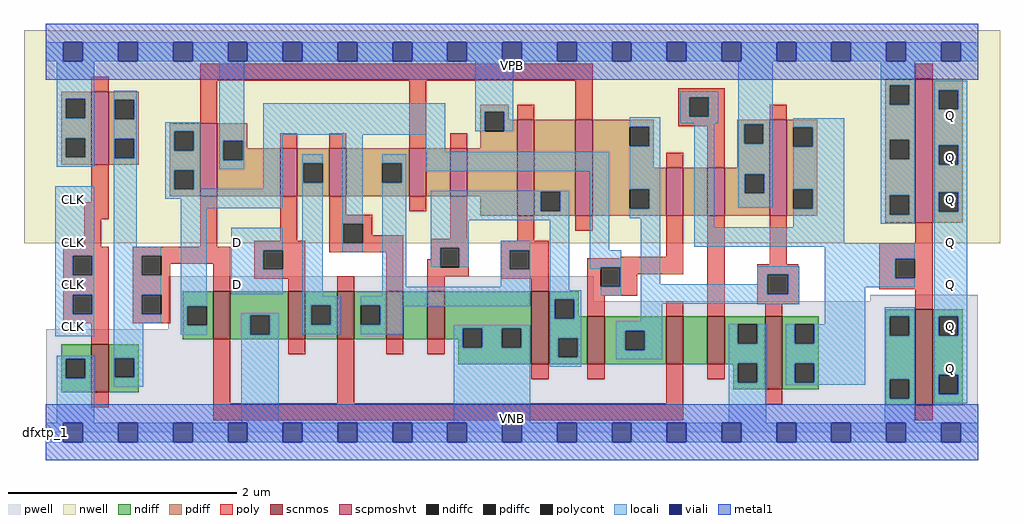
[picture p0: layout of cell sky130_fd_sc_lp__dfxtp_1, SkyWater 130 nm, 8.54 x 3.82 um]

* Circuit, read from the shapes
.subckt sky130_fd_sc_lp__dfxtp_1 CLK D VGND VNB VPB VPWR Q
XM1 n1 CLK VGND VNB sky130_fd_pr__nfet_01v8 w=0.42 l=0.15
XM2 VGND n1 n2 VNB sky130_fd_pr__nfet_01v8 w=0.42 l=0.15
XM3 n3 D VGND VNB sky130_fd_pr__nfet_01v8 w=0.42 l=0.15
XM4 n4 n1 n3 VNB sky130_fd_pr__nfet_01v8 w=0.42 l=0.15
XM5 n5 n2 n4 VNB sky130_fd_pr__nfet_01v8 w=0.42 l=0.15
XM6 VGND n6 n5 VNB sky130_fd_pr__nfet_01v8 w=0.42 l=0.15
XM7 n6 n4 VGND VNB sky130_fd_pr__nfet_01v8 w=0.64 l=0.15
XM8 n7 n2 n6 VNB sky130_fd_pr__nfet_01v8 w=0.42 l=0.15
XM9 n8 n1 n7 VNB sky130_fd_pr__nfet_01v8 w=0.42 l=0.15
XM10 VGND n9 n8 VNB sky130_fd_pr__nfet_01v8 w=0.42 l=0.15
XM11 n9 n7 VGND VNB sky130_fd_pr__nfet_01v8 w=0.64 l=0.15
XM12 Q n9 VGND VNB sky130_fd_pr__nfet_01v8 w=0.84 l=0.15
XM13 n1 CLK VPWR VPB sky130_fd_pr__pfet_01v8_hvt w=0.64 l=0.15
XM14 VPWR n1 n2 VPB sky130_fd_pr__pfet_01v8_hvt w=0.64 l=0.15
XM15 n3 D VPWR VPB sky130_fd_pr__pfet_01v8_hvt w=0.42 l=0.15
XM16 n4 n2 n3 VPB sky130_fd_pr__pfet_01v8_hvt w=0.42 l=0.15
XM17 n10 n1 n4 VPB sky130_fd_pr__pfet_01v8_hvt w=0.42 l=0.15
XM18 VPWR n6 n10 VPB sky130_fd_pr__pfet_01v8_hvt w=0.42 l=0.15
XM19 n6 n4 VPWR VPB sky130_fd_pr__pfet_01v8_hvt w=0.84 l=0.15
XM20 n7 n1 n6 VPB sky130_fd_pr__pfet_01v8_hvt w=0.84 l=0.15
XM21 n11 n2 n7 VPB sky130_fd_pr__pfet_01v8_hvt w=0.42 l=0.15
XM22 VPWR n9 n11 VPB sky130_fd_pr__pfet_01v8_hvt w=0.42 l=0.15
XM23 n9 n7 VPWR VPB sky130_fd_pr__pfet_01v8_hvt w=0.84 l=0.15
XM24 Q n9 VPWR VPB sky130_fd_pr__pfet_01v8_hvt w=1.26 l=0.15
.ends

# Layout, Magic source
magic
tech sky130A
magscale 1 2
<< nwell >>
rect -38 331 1670 704
<< pwell >>
rect 214 229 959 273
rect 1443 229 1631 241
rect 214 180 1631 229
rect 1 49 1631 180
rect 0 0 1632 49
<< scnmos >>
rect 293 163 323 247
rect 424 163 454 247
rect 510 163 540 247
rect 596 163 626 247
rect 668 163 698 247
rect 80 70 110 154
rect 850 119 880 247
rect 948 119 978 203
rect 1086 119 1116 203
rect 1158 119 1188 203
rect 1259 75 1289 203
rect 1522 47 1552 215
<< scpmoshvt >>
rect 80 468 110 596
rect 270 413 300 541
rect 410 413 440 497
rect 496 413 526 497
rect 636 413 666 497
rect 708 413 738 497
rect 825 379 855 547
rect 927 379 957 547
rect 1086 379 1116 463
rect 1158 379 1188 463
rect 1267 379 1297 547
rect 1522 367 1552 619
<< ndiff >>
rect 240 221 293 247
rect 240 187 248 221
rect 282 187 293 221
rect 240 163 293 187
rect 323 205 424 247
rect 323 171 358 205
rect 392 171 424 205
rect 323 163 424 171
rect 454 222 510 247
rect 454 188 465 222
rect 499 188 510 222
rect 454 163 510 188
rect 540 222 596 247
rect 540 188 551 222
rect 585 188 596 222
rect 540 163 596 188
rect 626 163 668 247
rect 698 182 850 247
rect 698 163 730 182
rect 27 129 80 154
rect 27 95 35 129
rect 69 95 80 129
rect 27 70 80 95
rect 110 130 163 154
rect 110 96 121 130
rect 155 96 163 130
rect 110 70 163 96
rect 722 148 730 163
rect 764 148 798 182
rect 832 148 850 182
rect 722 119 850 148
rect 880 233 933 247
rect 880 199 891 233
rect 925 203 933 233
rect 1469 203 1522 215
rect 925 199 948 203
rect 880 165 948 199
rect 880 131 897 165
rect 931 131 948 165
rect 880 119 948 131
rect 978 178 1086 203
rect 978 144 1014 178
rect 1048 144 1086 178
rect 978 119 1086 144
rect 1116 119 1158 203
rect 1188 189 1259 203
rect 1188 155 1211 189
rect 1245 155 1259 189
rect 1188 121 1259 155
rect 1188 119 1211 121
rect 1203 87 1211 119
rect 1245 87 1259 121
rect 1203 75 1259 87
rect 1289 189 1353 203
rect 1289 155 1311 189
rect 1345 155 1353 189
rect 1289 121 1353 155
rect 1289 87 1311 121
rect 1345 87 1353 121
rect 1289 75 1353 87
rect 1469 169 1477 203
rect 1511 169 1522 203
rect 1469 93 1522 169
rect 1469 59 1477 93
rect 1511 59 1522 93
rect 1469 47 1522 59
rect 1552 203 1605 215
rect 1552 169 1563 203
rect 1597 169 1605 203
rect 1552 101 1605 169
rect 1552 67 1563 101
rect 1597 67 1605 101
rect 1552 47 1605 67
<< pdiff >>
rect 27 584 80 596
rect 27 550 35 584
rect 69 550 80 584
rect 27 515 80 550
rect 27 481 35 515
rect 69 481 80 515
rect 27 468 80 481
rect 110 582 163 596
rect 110 548 121 582
rect 155 548 163 582
rect 110 514 163 548
rect 110 480 121 514
rect 155 480 163 514
rect 110 468 163 480
rect 217 527 270 541
rect 217 493 225 527
rect 259 493 270 527
rect 217 459 270 493
rect 217 425 225 459
rect 259 425 270 459
rect 217 413 270 425
rect 300 510 353 541
rect 300 476 311 510
rect 345 497 353 510
rect 760 561 810 573
rect 760 527 768 561
rect 802 547 810 561
rect 1469 607 1522 619
rect 1469 573 1477 607
rect 1511 573 1522 607
rect 802 527 825 547
rect 760 497 825 527
rect 345 476 410 497
rect 300 413 410 476
rect 440 471 496 497
rect 440 437 451 471
rect 485 437 496 471
rect 440 413 496 437
rect 526 471 636 497
rect 526 437 589 471
rect 623 437 636 471
rect 526 413 636 437
rect 666 413 708 497
rect 738 413 825 497
rect 760 379 825 413
rect 855 421 927 547
rect 855 387 866 421
rect 900 387 927 421
rect 855 379 927 387
rect 957 535 1064 547
rect 957 501 1022 535
rect 1056 501 1064 535
rect 957 463 1064 501
rect 1210 539 1267 547
rect 1210 505 1222 539
rect 1256 505 1267 539
rect 1210 463 1267 505
rect 957 425 1086 463
rect 957 391 1022 425
rect 1056 391 1086 425
rect 957 379 1086 391
rect 1116 379 1158 463
rect 1188 452 1267 463
rect 1188 418 1223 452
rect 1257 418 1267 452
rect 1188 379 1267 418
rect 1297 534 1350 547
rect 1297 500 1308 534
rect 1342 500 1350 534
rect 1297 425 1350 500
rect 1297 391 1308 425
rect 1342 391 1350 425
rect 1297 379 1350 391
rect 1469 512 1522 573
rect 1469 478 1477 512
rect 1511 478 1522 512
rect 1469 415 1522 478
rect 1469 381 1477 415
rect 1511 381 1522 415
rect 1469 367 1522 381
rect 1552 599 1605 619
rect 1552 565 1563 599
rect 1597 565 1605 599
rect 1552 502 1605 565
rect 1552 468 1563 502
rect 1597 468 1605 502
rect 1552 420 1605 468
rect 1552 386 1563 420
rect 1597 386 1605 420
rect 1552 367 1605 386
<< ndiffc >>
rect 248 187 282 221
rect 358 171 392 205
rect 465 188 499 222
rect 551 188 585 222
rect 35 95 69 129
rect 121 96 155 130
rect 730 148 764 182
rect 798 148 832 182
rect 891 199 925 233
rect 897 131 931 165
rect 1014 144 1048 178
rect 1211 155 1245 189
rect 1211 87 1245 121
rect 1311 155 1345 189
rect 1311 87 1345 121
rect 1477 169 1511 203
rect 1477 59 1511 93
rect 1563 169 1597 203
rect 1563 67 1597 101
<< pdiffc >>
rect 35 550 69 584
rect 35 481 69 515
rect 121 548 155 582
rect 121 480 155 514
rect 225 493 259 527
rect 225 425 259 459
rect 311 476 345 510
rect 768 527 802 561
rect 1477 573 1511 607
rect 451 437 485 471
rect 589 437 623 471
rect 866 387 900 421
rect 1022 501 1056 535
rect 1222 505 1256 539
rect 1022 391 1056 425
rect 1223 418 1257 452
rect 1308 500 1342 534
rect 1308 391 1342 425
rect 1477 478 1511 512
rect 1477 381 1511 415
rect 1563 565 1597 599
rect 1563 468 1597 502
rect 1563 386 1597 420
<< poly >>
rect 80 596 110 622
rect 270 615 957 645
rect 1522 619 1552 645
rect 270 541 300 615
rect 80 403 110 468
rect 410 497 440 523
rect 496 497 526 523
rect 636 497 666 615
rect 825 547 855 573
rect 927 547 957 615
rect 1107 586 1188 602
rect 1107 552 1126 586
rect 1160 552 1188 586
rect 708 497 738 523
rect 67 373 110 403
rect 67 325 97 373
rect 270 325 300 413
rect 410 335 440 413
rect 496 381 526 413
rect 636 387 666 413
rect 496 365 571 381
rect 31 309 110 325
rect 31 275 47 309
rect 81 275 110 309
rect 31 241 110 275
rect 31 207 47 241
rect 81 207 110 241
rect 31 191 110 207
rect 152 309 323 325
rect 152 275 168 309
rect 202 295 323 309
rect 202 275 218 295
rect 152 241 218 275
rect 293 247 323 295
rect 365 319 454 335
rect 365 285 381 319
rect 415 285 454 319
rect 496 331 521 365
rect 555 345 571 365
rect 555 331 626 345
rect 708 339 738 413
rect 1107 536 1188 552
rect 1267 547 1297 573
rect 1086 463 1116 489
rect 1158 463 1188 536
rect 496 315 626 331
rect 365 269 454 285
rect 424 247 454 269
rect 510 247 540 273
rect 596 247 626 315
rect 674 323 740 339
rect 825 335 855 379
rect 927 353 957 379
rect 674 303 690 323
rect 668 289 690 303
rect 724 289 740 323
rect 668 273 740 289
rect 796 319 880 335
rect 796 285 812 319
rect 846 285 880 319
rect 1086 307 1116 379
rect 1005 305 1116 307
rect 668 247 698 273
rect 796 269 880 285
rect 850 247 880 269
rect 948 289 1116 305
rect 948 255 971 289
rect 1005 277 1116 289
rect 1005 255 1035 277
rect 152 207 168 241
rect 202 207 218 241
rect 152 191 218 207
rect 80 154 110 191
rect 80 44 110 70
rect 293 51 323 163
rect 424 137 454 163
rect 510 51 540 163
rect 596 137 626 163
rect 668 137 698 163
rect 948 239 1035 255
rect 948 203 978 239
rect 1086 203 1116 229
rect 1158 203 1188 379
rect 1267 294 1297 379
rect 1522 331 1552 367
rect 1459 304 1552 331
rect 1245 291 1317 294
rect 1245 277 1319 291
rect 1245 242 1263 277
rect 1299 242 1319 277
rect 1459 270 1487 304
rect 1521 270 1552 304
rect 1459 250 1552 270
rect 1245 224 1319 242
rect 1259 203 1289 224
rect 1522 215 1552 250
rect 850 93 880 119
rect 948 93 978 119
rect 1086 51 1116 119
rect 1158 93 1188 119
rect 293 21 1116 51
rect 1259 49 1289 75
rect 1522 21 1552 47
<< polycont >>
rect 1126 552 1160 586
rect 47 275 81 309
rect 47 207 81 241
rect 168 275 202 309
rect 381 285 415 319
rect 521 331 555 365
rect 690 289 724 323
rect 812 285 846 319
rect 971 255 1005 289
rect 168 207 202 241
rect 1263 242 1299 277
rect 1487 270 1521 304
<< locali >>
rect 0 649 31 683
rect 65 649 127 683
rect 161 649 223 683
rect 257 649 319 683
rect 353 649 415 683
rect 449 649 511 683
rect 545 649 607 683
rect 641 649 703 683
rect 737 649 799 683
rect 833 649 895 683
rect 929 649 991 683
rect 1025 649 1087 683
rect 1121 649 1183 683
rect 1217 649 1279 683
rect 1313 649 1375 683
rect 1409 649 1471 683
rect 1505 649 1567 683
rect 1601 649 1632 683
rect 19 584 85 649
rect 19 550 35 584
rect 69 550 85 584
rect 19 515 85 550
rect 19 481 35 515
rect 69 481 85 515
rect 19 465 85 481
rect 119 582 159 598
rect 119 548 121 582
rect 155 548 159 582
rect 119 514 159 548
rect 119 480 121 514
rect 155 480 159 514
rect 17 309 85 431
rect 17 275 47 309
rect 81 275 85 309
rect 17 241 85 275
rect 17 207 47 241
rect 81 207 85 241
rect 17 168 85 207
rect 119 325 159 480
rect 209 527 270 543
rect 209 493 225 527
rect 259 493 270 527
rect 209 459 270 493
rect 304 510 347 649
rect 304 476 311 510
rect 345 476 347 510
rect 304 460 347 476
rect 381 521 699 576
rect 752 561 818 649
rect 752 527 768 561
rect 802 527 818 561
rect 1110 586 1177 597
rect 1110 552 1126 586
rect 1160 552 1177 586
rect 1022 535 1075 551
rect 1110 541 1177 552
rect 209 425 225 459
rect 259 426 270 459
rect 381 426 415 521
rect 259 425 415 426
rect 209 409 415 425
rect 236 392 415 409
rect 449 471 485 487
rect 449 437 451 471
rect 119 309 202 325
rect 119 275 168 309
rect 119 241 202 275
rect 119 207 168 241
rect 119 191 202 207
rect 236 221 282 392
rect 325 319 415 358
rect 325 285 381 319
rect 325 242 415 285
rect 19 129 85 134
rect 19 95 35 129
rect 69 95 85 129
rect 19 17 85 95
rect 119 130 171 191
rect 236 187 248 221
rect 449 238 485 437
rect 519 365 555 521
rect 665 491 699 521
rect 1056 501 1075 535
rect 519 331 521 365
rect 519 315 555 331
rect 589 471 631 487
rect 623 437 631 471
rect 665 457 986 491
rect 589 255 631 437
rect 674 421 916 423
rect 674 387 866 421
rect 900 387 916 421
rect 674 371 916 387
rect 674 323 740 371
rect 674 289 690 323
rect 724 289 740 323
rect 796 319 848 335
rect 796 285 812 319
rect 846 285 848 319
rect 796 255 848 285
rect 589 238 848 255
rect 449 222 515 238
rect 236 171 282 187
rect 342 205 408 208
rect 342 171 358 205
rect 392 171 408 205
rect 449 188 465 222
rect 499 188 515 222
rect 449 172 515 188
rect 551 222 848 238
rect 585 221 848 222
rect 882 249 916 371
rect 952 319 986 457
rect 1022 425 1075 501
rect 1056 391 1075 425
rect 1022 375 1075 391
rect 952 289 1007 319
rect 952 285 971 289
rect 1005 255 1007 289
rect 882 233 937 249
rect 971 239 1007 255
rect 1041 259 1075 375
rect 1135 359 1170 541
rect 1212 539 1272 649
rect 1461 607 1521 649
rect 1461 573 1477 607
rect 1511 573 1521 607
rect 1212 505 1222 539
rect 1256 505 1272 539
rect 1212 452 1272 505
rect 1212 418 1223 452
rect 1257 418 1272 452
rect 1212 393 1272 418
rect 1308 534 1397 550
rect 1342 500 1397 534
rect 1308 425 1397 500
rect 1342 391 1397 425
rect 1308 359 1397 391
rect 1461 512 1521 573
rect 1461 478 1477 512
rect 1511 478 1521 512
rect 1461 415 1521 478
rect 1461 381 1477 415
rect 1511 381 1521 415
rect 1461 365 1521 381
rect 1555 599 1613 615
rect 1555 565 1563 599
rect 1597 565 1613 599
rect 1555 502 1613 565
rect 1555 468 1563 502
rect 1597 468 1613 502
rect 1555 420 1613 468
rect 1555 386 1563 420
rect 1597 386 1613 420
rect 1135 331 1397 359
rect 1135 325 1521 331
rect 1363 304 1521 325
rect 1245 277 1319 291
rect 1245 259 1263 277
rect 1041 242 1263 259
rect 1299 242 1319 277
rect 585 188 625 221
rect 551 172 625 188
rect 882 199 891 233
rect 925 199 937 233
rect 714 182 848 187
rect 119 96 121 130
rect 155 96 171 130
rect 119 80 171 96
rect 342 17 408 171
rect 714 148 730 182
rect 764 148 798 182
rect 832 148 848 182
rect 714 17 848 148
rect 882 165 937 199
rect 1041 225 1319 242
rect 1041 194 1079 225
rect 1245 224 1319 225
rect 1363 270 1487 304
rect 1363 254 1521 270
rect 882 131 897 165
rect 931 131 937 165
rect 882 115 937 131
rect 998 178 1079 194
rect 1363 189 1434 254
rect 998 144 1014 178
rect 1048 144 1079 178
rect 998 128 1079 144
rect 1195 155 1211 189
rect 1245 155 1261 189
rect 1195 121 1261 155
rect 1195 87 1211 121
rect 1245 87 1261 121
rect 1195 17 1261 87
rect 1295 155 1311 189
rect 1345 155 1434 189
rect 1295 121 1434 155
rect 1295 87 1311 121
rect 1345 87 1434 121
rect 1295 83 1434 87
rect 1468 203 1521 219
rect 1468 169 1477 203
rect 1511 169 1521 203
rect 1468 93 1521 169
rect 1468 59 1477 93
rect 1511 59 1521 93
rect 1468 17 1521 59
rect 1555 203 1613 386
rect 1555 169 1563 203
rect 1597 169 1613 203
rect 1555 101 1613 169
rect 1555 67 1563 101
rect 1597 67 1613 101
rect 1555 51 1613 67
rect 0 -17 31 17
rect 65 -17 127 17
rect 161 -17 223 17
rect 257 -17 319 17
rect 353 -17 415 17
rect 449 -17 511 17
rect 545 -17 607 17
rect 641 -17 703 17
rect 737 -17 799 17
rect 833 -17 895 17
rect 929 -17 991 17
rect 1025 -17 1087 17
rect 1121 -17 1183 17
rect 1217 -17 1279 17
rect 1313 -17 1375 17
rect 1409 -17 1471 17
rect 1505 -17 1567 17
rect 1601 -17 1632 17
<< viali >>
rect 31 649 65 683
rect 127 649 161 683
rect 223 649 257 683
rect 319 649 353 683
rect 415 649 449 683
rect 511 649 545 683
rect 607 649 641 683
rect 703 649 737 683
rect 799 649 833 683
rect 895 649 929 683
rect 991 649 1025 683
rect 1087 649 1121 683
rect 1183 649 1217 683
rect 1279 649 1313 683
rect 1375 649 1409 683
rect 1471 649 1505 683
rect 1567 649 1601 683
rect 31 -17 65 17
rect 127 -17 161 17
rect 223 -17 257 17
rect 319 -17 353 17
rect 415 -17 449 17
rect 511 -17 545 17
rect 607 -17 641 17
rect 703 -17 737 17
rect 799 -17 833 17
rect 895 -17 929 17
rect 991 -17 1025 17
rect 1087 -17 1121 17
rect 1183 -17 1217 17
rect 1279 -17 1313 17
rect 1375 -17 1409 17
rect 1471 -17 1505 17
rect 1567 -17 1601 17
<< metal1 >>
rect 0 683 1632 715
rect 0 649 31 683
rect 65 649 127 683
rect 161 649 223 683
rect 257 649 319 683
rect 353 649 415 683
rect 449 649 511 683
rect 545 649 607 683
rect 641 649 703 683
rect 737 649 799 683
rect 833 649 895 683
rect 929 649 991 683
rect 1025 649 1087 683
rect 1121 649 1183 683
rect 1217 649 1279 683
rect 1313 649 1375 683
rect 1409 649 1471 683
rect 1505 649 1567 683
rect 1601 649 1632 683
rect 0 617 1632 649
rect 0 17 1632 49
rect 0 -17 31 17
rect 65 -17 127 17
rect 161 -17 223 17
rect 257 -17 319 17
rect 353 -17 415 17
rect 449 -17 511 17
rect 545 -17 607 17
rect 641 -17 703 17
rect 737 -17 799 17
rect 833 -17 895 17
rect 929 -17 991 17
rect 1025 -17 1087 17
rect 1121 -17 1183 17
rect 1217 -17 1279 17
rect 1313 -17 1375 17
rect 1409 -17 1471 17
rect 1505 -17 1567 17
rect 1601 -17 1632 17
rect 0 -49 1632 -17
<< labels >>
flabel pwell s 0 0 1632 49 0 FreeSans 200 0 0 0 VNB
port 4 nsew ground bidirectional
flabel nwell s 0 617 1632 666 0 FreeSans 200 0 0 0 VPB
port 5 nsew power bidirectional
rlabel comment s 0 0 0 0 4 dfxtp_1
flabel metal1 s 0 617 1632 666 0 FreeSans 340 0 0 0 VPWR
port 6 nsew power bidirectional
flabel metal1 s 0 0 1632 49 0 FreeSans 340 0 0 0 VGND
port 3 nsew ground bidirectional
flabel locali s 31 168 65 202 0 FreeSans 340 0 0 0 CLK
port 1 nsew clock input
flabel locali s 31 242 65 276 0 FreeSans 340 0 0 0 CLK
port 1 nsew clock input
flabel locali s 31 316 65 350 0 FreeSans 340 0 0 0 CLK
port 1 nsew clock input
flabel locali s 31 390 65 424 0 FreeSans 340 0 0 0 CLK
port 1 nsew clock input
flabel locali s 319 242 353 276 0 FreeSans 340 0 0 0 D
port 2 nsew signal input
flabel locali s 319 316 353 350 0 FreeSans 340 0 0 0 D
port 2 nsew signal input
flabel locali s 1567 538 1601 572 0 FreeSans 340 0 0 0 Q
port 7 nsew signal output
flabel locali s 1567 464 1601 498 0 FreeSans 340 0 0 0 Q
port 7 nsew signal output
flabel locali s 1567 390 1601 424 0 FreeSans 340 0 0 0 Q
port 7 nsew signal output
flabel locali s 1567 316 1601 350 0 FreeSans 340 0 0 0 Q
port 7 nsew signal output
flabel locali s 1567 242 1601 276 0 FreeSans 340 0 0 0 Q
port 7 nsew signal output
flabel locali s 1567 168 1601 202 0 FreeSans 340 0 0 0 Q
port 7 nsew signal output
flabel locali s 1567 94 1601 128 0 FreeSans 340 0 0 0 Q
port 7 nsew signal output
<< properties >>
string LEFclass CORE
string LEFsite unit
string FIXED_BBOX 0 0 1632 666
string GDS_FILE $PDKPATH/libs.ref/sky130_fd_sc_lp/gds/sky130_fd_sc_lp.gds
string GDS_START 110132
string GDS_END 122576
string LEFsymmetry X Y R90
<< end >>
